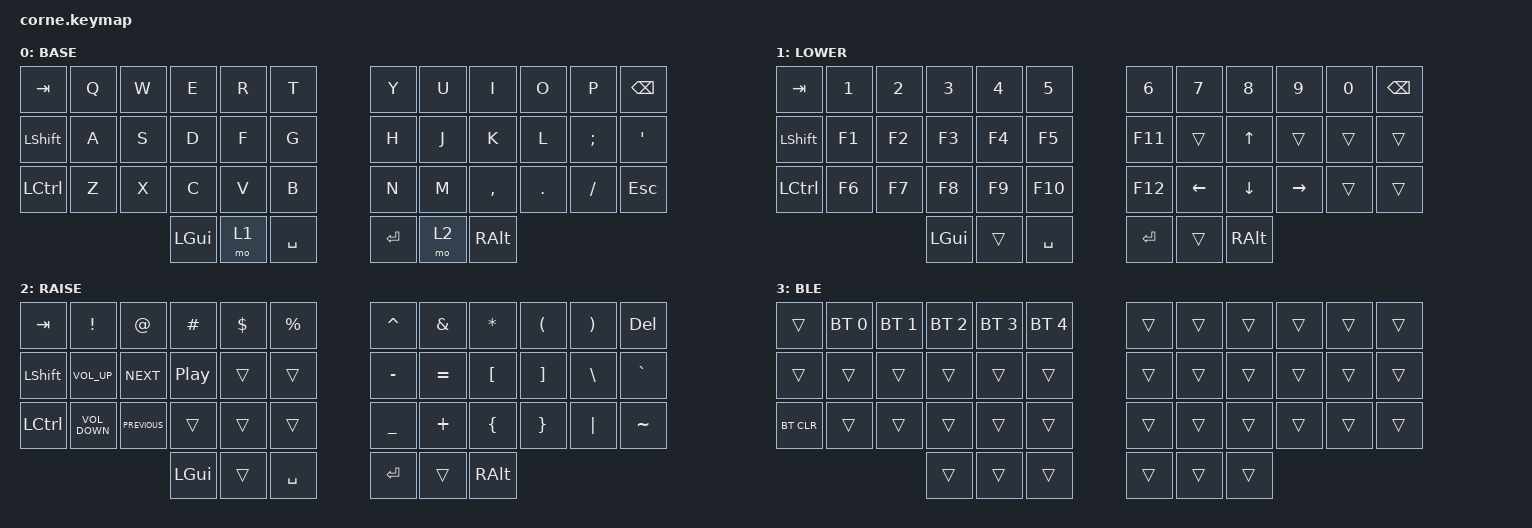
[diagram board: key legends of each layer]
/*
 * Copyright (c) 2020 The ZMK Contributors
 *
 * SPDX-License-Identifier: MIT
 */

#include <behaviors.dtsi>
#include <dt-bindings/zmk/bt.h>
#include <dt-bindings/zmk/keys.h>

/ {
    combos {
        compatible = "zmk,combos";

        Conf_layer {
            bindings = <&mo 3>;
            key-positions = <37 40>;
        };
    };

    keymap {
        compatible = "zmk,keymap";

        default_layer {
              display-name = "BASE";
            // -----------------------------------------------------------------------------------------
            // |  TAB |  Q  |  W  |  E  |  R  |  T  |   |  Y  |  U   |  I  |  O  |  P  | BSPC |
            // | CTRL |  A  |  S  |  D  |  F  |  G  |   |  H  |  J   |  K  |  L  |  ;  |  '   |
            // | SHFT |  Z  |  X  |  C  |  V  |  B  |   |  N  |  M   |  ,  |  .  |  /  | ESC  |
            //                    | GUI | LWR | SPC |   | ENT | RSE  | ALT |

            bindings = <
&kp TAB         &kp Q  &kp W  &kp E     &kp R  &kp T        &kp Y    &kp U  &kp I      &kp O    &kp P     &kp BSPC
&kp LEFT_SHIFT  &kp A  &kp S  &kp D     &kp F  &kp G        &kp H    &kp J  &kp K      &kp L    &kp SEMI  &kp SQT
&kp LCTRL       &kp Z  &kp X  &kp C     &kp V  &kp B        &kp N    &kp M  &kp COMMA  &kp DOT  &kp FSLH  &kp ESC
                              &kp LGUI  &mo 1  &kp SPACE    &kp RET  &mo 2  &kp RALT
            >;
        };

        lower_layer {
            display-name = "LOWER";
            // -----------------------------------------------------------------------------------------
            // |  TAB |  1  |  2  |  3  |  4  |  5  |   |  6  |  7  |  8  |  9  |  0  | BSPC |
            // | BTCLR| BT1 | BT2 | BT3 | BT4 | BT5 |   | LFT | DWN |  UP | RGT |     |      |
            // | SHFT |     |     |     |     |     |   |     |     |     |     |     |      |
            //                    | GUI |     | SPC |   | ENT |     | ALT |

            bindings = <
&kp TAB         &kp N1  &kp N2  &kp N3    &kp N4  &kp N5       &kp N6   &kp N7    &kp N8    &kp N9     &kp N0  &kp BSPC
&kp LEFT_SHIFT  &kp F1  &kp F2  &kp F3    &kp F4  &kp F5       &kp F11  &trans    &kp UP    &trans     &trans  &trans
&kp LCTRL       &kp F6  &kp F7  &kp F8    &kp F9  &kp F10      &kp F12  &kp LEFT  &kp DOWN  &kp RIGHT  &trans  &trans
                                &kp LGUI  &trans  &kp SPACE    &kp RET  &trans    &kp RALT
            >;
        };

        raise_layer {
            display-name = "RAISE";
            // -----------------------------------------------------------------------------------------
            // |  TAB |  !  |  @  |  #  |  $  |  %  |   |  ^  |  &  |  *  |  (  |  )  | BSPC |
            // | CTRL |     |     |     |     |     |   |  -  |  =  |  [  |  ]  |  \  |  `   |
            // | SHFT |     |     |     |     |     |   |  _  |  +  |  {  |  }  | "|" |  ~   |
            //                    | GUI |     | SPC |   | ENT |     | ALT |

            bindings = <
&kp TAB         &kp EXCL           &kp AT          &kp HASH          &kp DLLR  &kp PRCNT    &kp CARET  &kp AMPS   &kp ASTRK  &kp LPAR  &kp RPAR  &kp DELETE
&kp LEFT_SHIFT  &kp C_VOLUME_UP    &kp C_NEXT      &kp C_PLAY_PAUSE  &trans    &trans       &kp MINUS  &kp EQUAL  &kp LBKT   &kp RBKT  &kp BSLH  &kp GRAVE
&kp LCTRL       &kp C_VOLUME_DOWN  &kp C_PREVIOUS  &trans            &trans    &trans       &kp UNDER  &kp PLUS   &kp LBRC   &kp RBRC  &kp PIPE  &kp TILDE
                                                   &kp LGUI          &trans    &kp SPACE    &kp RET    &trans     &kp RALT
            >;
        };

        layer_3 {
            display-name = "BLE";
            
            bindings = <
&trans      &bt BT_SEL 0  &bt BT_SEL 1  &bt BT_SEL 2  &bt BT_SEL 3  &bt BT_SEL 4    &trans  &trans  &trans  &trans  &trans  &trans
&trans      &trans        &trans        &trans        &trans        &trans          &trans  &trans  &trans  &trans  &trans  &trans
&bt BT_CLR  &trans        &trans        &trans        &trans        &trans          &trans  &trans  &trans  &trans  &trans  &trans
                                        &trans        &trans        &trans          &trans  &trans  &trans
            >;
        };
    };
};
